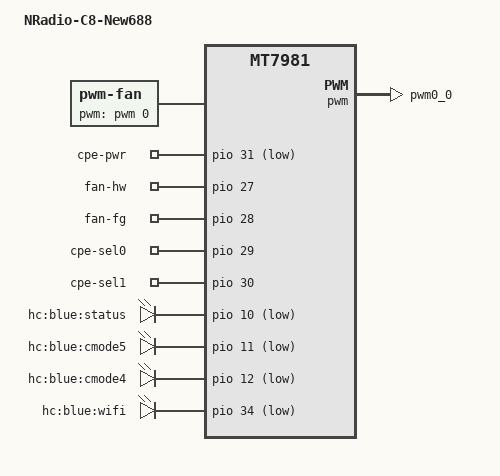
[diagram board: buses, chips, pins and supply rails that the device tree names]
/dts-v1/;

#include "mt7981-nradio-c8-688-emmc.dtsi"

/ {
	model = "NRadio-C8-New688";

	aliases {
		serial0 = &uart0;
		led-boot = &led_status;
		led-failsafe = &led_status;
		led-running = &led_status;
		led-upgrade = &led_status;
	};

	chosen {
		stdout-path = "serial0:115200n8";
	};

	fan: pwm-fan {
		compatible = "pwm-fan";
		cooling-min-state = <0>;
		cooling-max-state = <3>;
		#cooling-cells = <2>;
		pwms = <&pwm 0 40000 0>;
		pinctrl-names = "default";
		cooling-levels = <127 166 204 255>;
	};

	gpio_export {
		compatible = "gpio-export";
		#size-cells = <0>;

		cpepower {
			gpio-export,name = "cpe-pwr";
			gpio-export,output = <0>;
			gpios = <&pio 31 GPIO_ACTIVE_LOW>;
		};

		fanpower {
			gpio-export,name = "fan-hw";
			gpio-export,output = <1>;
			gpios = <&pio 27 GPIO_ACTIVE_HIGH>;
		};

		fanfg {
			gpio-export,name = "fan-fg";
			gpio-export,output = <1>;
			gpios = <&pio 28 GPIO_ACTIVE_HIGH>;
		};

		cpesel0 {
			gpio-export,name = "cpe-sel0";
			gpio-export,output = <1>;
			gpios = <&pio 29 GPIO_ACTIVE_HIGH>;
		};

		cpesel1 {
			gpio-export,name = "cpe-sel1";
			gpio-export,output = <1>;
			gpios = <&pio 30 GPIO_ACTIVE_HIGH>;
		};
	};

	gpio-leds {
		compatible = "gpio-leds";

		led_status: status {
			label = "hc:blue:status";
			gpios = <&pio 10 GPIO_ACTIVE_LOW>;
		};

		cmode5 {
			label = "hc:blue:cmode5";
			gpios = <&pio 11 GPIO_ACTIVE_LOW>;
		};

		cmode4 {
			label = "hc:blue:cmode4";
			gpios = <&pio 12 GPIO_ACTIVE_LOW>;
		};

		wifi {
			label = "hc:blue:wifi";
			gpios = <&pio 34 GPIO_ACTIVE_LOW>;
		};
	};
};

&pio {
	pwm0_pin: pwm0-pin-g0 {
		mux {
			function = "pwm";
			groups = "pwm0_0";
		};
	};
};

&pwm {
	pinctrl-names = "default";
	pinctrl-0 = <&pwm0_pin>;
	status = "okay";
};
